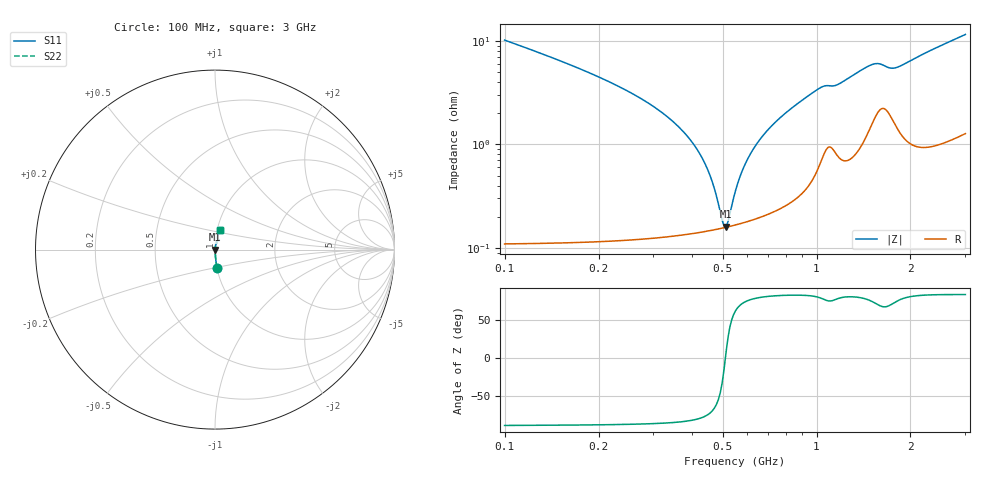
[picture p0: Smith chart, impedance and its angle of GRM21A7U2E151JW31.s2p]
!Murata Part Number: GRM21A7U2E151JW31
!These Parameters are Measured in Series Mode Connection
!Data Generated on Mar 30, 2021
!  o--ll--o
!Port1  Port2
!  o------o
!Operation Temp=25[degC], DC Bias Voltage=0[V]
!Freq. Start=100[MHz] Stop=3[GHz] 401[Steps]
# Hz S RI R 50
!Freq.(Hz) S11(Real) S11(Imag) S21(Real) S21(Imag) S12(Real) S12(Imag) S22(Real) S22(Imag)
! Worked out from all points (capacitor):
!   401 points, 100 MHz to 3 GHz, reference 50 ohm
!   read as one part in series: C = 150 pF near 114.5 MHz
!   lowest |Z| = 160 mohm at 513.2 MHz (marker M1)
!   series resonance near 510.3 MHz, so ESL is about 650 pH
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1e8  0.0114 -0.1008  0.9886 0.1008  0.9886 0.1008  0.0114 -0.1008
1.7975e8  0.0038 -0.0515  0.9962 0.0515  0.9962 0.0515  0.0038 -0.0515
3.32e8  0.00162 -0.0185  0.9984 0.0185  0.9984 0.0185  0.00162 -0.0185
3.9e8  0.00148 -0.0114  0.9985 0.0114  0.9985 0.0114  0.00148 -0.0114
4.4075e8  0.00148 -0.00616  0.9985 0.00616  0.9985 0.00616  0.00148 -0.00616
4.625e8  0.00149 -0.00413  0.9985 0.00413  0.9985 0.00413  0.00149 -0.00413
4.9875e8  0.00155 -0.000962  0.9985 0.000962  0.9985 0.000962  0.00155 -0.000962
5.1325e8  0.00158 0.000243  0.9984 -0.000243  0.9984 -0.000243  0.00158 0.000243
5.2775e8  0.00161 0.00142  0.9984 -0.00142  0.9984 -0.00142  0.00161 0.00142
5.5675e8  0.00169 0.00368  0.9983 -0.00368  0.9983 -0.00368  0.00169 0.00368
5.8575e8  0.00178 0.00585  0.9982 -0.00585  0.9982 -0.00585  0.00178 0.00585
6.51e8  0.00205 0.0105  0.998 -0.0105  0.998 -0.0105  0.00205 0.0105
7.525e8  0.00262 0.0171  0.9974 -0.0171  0.9974 -0.0171  0.00262 0.0171
9.1925e8  0.00436 0.0276  0.9956 -0.0276  0.9956 -0.0276  0.00436 0.0276
1.0715e9  0.00997 0.0352  0.99 -0.0352  0.99 -0.0352  0.00997 0.0352
1.1585e9  0.00924 0.036  0.9908 -0.036  0.9908 -0.036  0.00924 0.036
1.41225e9  0.0131 0.0515  0.9869 -0.0515  0.9869 -0.0515  0.0131 0.0515
1.55e9  0.0217 0.0551  0.9783 -0.0551  0.9783 -0.0551  0.0217 0.0551
1.76025e9  0.0191 0.0501  0.9809 -0.0501  0.9809 -0.0501  0.0191 0.0501
2.03575e9  0.0139 0.0642  0.9861 -0.0642  0.9861 -0.0642  0.0139 0.0642
2.5215e9  0.018 0.0881  0.982 -0.0881  0.982 -0.0881  0.018 0.0881
3e9  0.0251 0.1107  0.9749 -0.1107  0.9749 -0.1107  0.0251 0.1107
